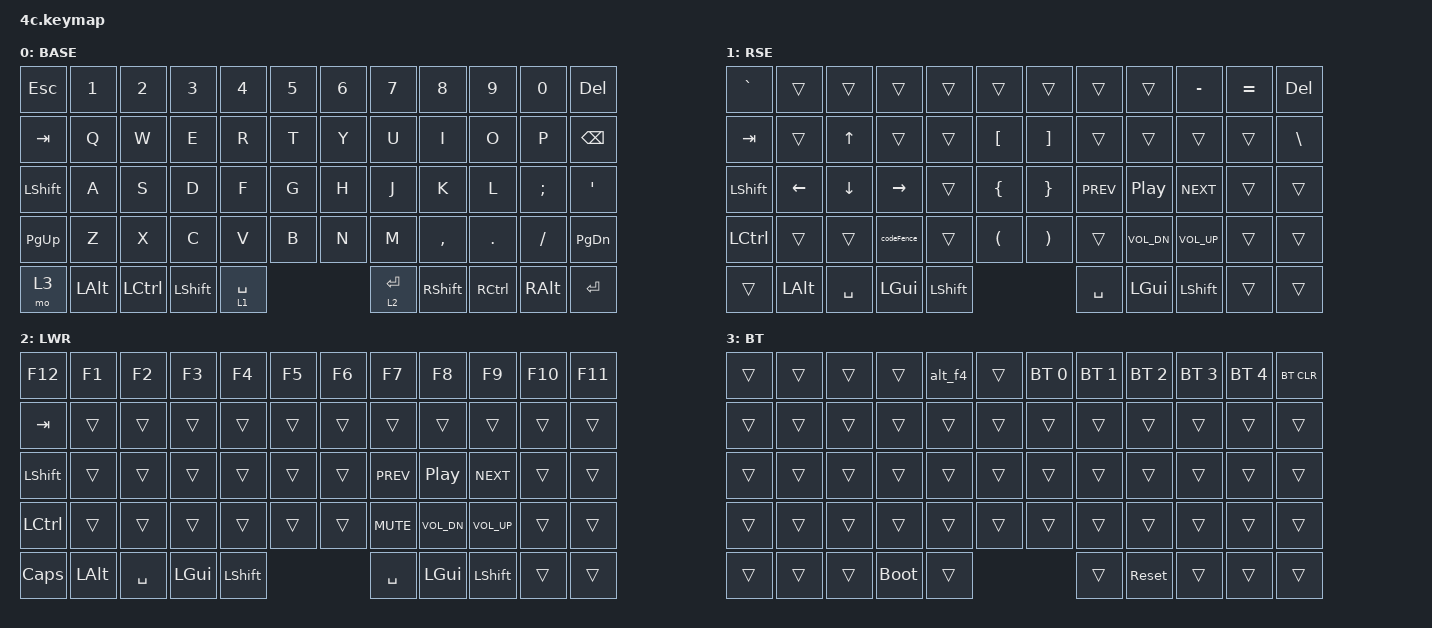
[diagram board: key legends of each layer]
#include <behaviors.dtsi>
#include <dt-bindings/zmk/keys.h>
#include <dt-bindings/zmk/bt.h>
#include <dt-bindings/zmk/outputs.h>

/ {
    combos {
        compatible = "zmk,combos";

        BT {
            bindings = <&bt BT_NXT>;
            key-positions = <48 51 52>;
            layers = <0>;
        };

        gui_meta {
            bindings = <&kp LEFT_GUI>;
            key-positions = <51 54>;
            layers = <0>;
            timeout-ms = <50>;
            require-prior-idle-ms = <1>;
        };
    };

    macros {
        codeFence: codeFence {
            compatible = "zmk,behavior-macro";
            #binding-cells = <0>;
            tap-ms = <30>;
            wait-ms = <30>;
            bindings = <&kp GRAVE &kp GRAVE &kp GRAVE &kp RET &kp RET &kp GRAVE &kp GRAVE &kp GRAVE &kp UP>;
        };

        alt_f4: alt_f4 {
            compatible = "zmk,behavior-macro";
            #binding-cells = <0>;
            tap-ms = <30>;
            wait-ms = <30>;
            bindings = <&kp LALT &kp F4>;
        };
    };

    keymap {
        compatible = "zmk,keymap";
        // Tell ZMK Studio how to map this layout array
        physical-layout = <&default_layout>;

        BASE {
            bindings = <
&kp ESC         &kp NUMBER_1  &kp NUMBER_2      &kp NUMBER_3    &kp NUMBER_4  &kp NUMBER_5    &kp NUMBER_6  &kp NUMBER_7  &kp NUMBER_8     &kp NUMBER_9       &kp NUMBER_0   &kp DELETE
&kp TAB         &kp Q         &kp W             &kp E           &kp R         &kp T           &kp Y         &kp U         &kp I            &kp O              &kp P          &kp BACKSPACE
&kp LEFT_SHIFT  &kp A         &kp S             &kp D           &kp F         &kp G           &kp H         &kp J         &kp K            &kp L              &kp SEMI       &kp APOS
&kp PAGE_UP     &kp Z         &kp X             &kp C           &kp V         &kp B           &kp N         &kp M         &kp COMMA        &kp PERIOD         &kp SLASH      &kp PAGE_DOWN
&mo 3           &kp LEFT_ALT  &kp LEFT_CONTROL  &kp LEFT_SHIFT  &lt 1 SPACE                                 &lt 2 ENTER   &kp RIGHT_SHIFT  &kp RIGHT_CONTROL  &kp RIGHT_ALT  &kp ENTER
            >;
        };

        RSE {
            bindings = <
&kp GRAVE       &trans        &trans     &trans        &trans          &trans                  &trans                 &trans      &trans        &kp MINUS       &kp EQUAL  &kp DELETE
&kp TAB         &trans        &kp UP     &trans        &trans          &kp LEFT_BRACKET        &kp RIGHT_BRACKET      &trans      &trans        &trans          &trans     &kp BACKSLASH
&kp LEFT_SHIFT  &kp LEFT      &kp DOWN   &kp RIGHT     &trans          &kp LEFT_BRACE          &kp RIGHT_BRACE        &kp C_PREV  &kp C_PP      &kp C_NEXT      &trans     &trans
&kp LCTRL       &trans        &trans     &codeFence    &trans          &kp LEFT_PARENTHESIS    &kp RIGHT_PARENTHESIS  &trans      &kp C_VOL_DN  &kp C_VOL_UP    &trans     &trans
&trans          &kp LEFT_ALT  &kp SPACE  &kp LEFT_GUI  &kp LEFT_SHIFT                                                 &kp SPACE   &kp LEFT_GUI  &kp LEFT_SHIFT  &trans     &trans
            >;
        };

        LWR {
            bindings = <
&kp F12         &kp F1        &kp F2     &kp F3        &kp F4          &kp F5    &kp F6  &kp F7      &kp F8            &kp F9          &kp F10  &kp F11
&kp TAB         &trans        &trans     &trans        &trans          &trans    &trans  &trans      &trans            &trans          &trans   &trans
&kp LEFT_SHIFT  &trans        &trans     &trans        &trans          &trans    &trans  &kp C_PREV  &kp C_PLAY_PAUSE  &kp C_NEXT      &trans   &trans
&kp LCTRL       &trans        &trans     &trans        &trans          &trans    &trans  &kp C_MUTE  &kp C_VOL_DN      &kp C_VOL_UP    &trans   &trans
&kp CAPS        &kp LEFT_ALT  &kp SPACE  &kp LEFT_GUI  &kp LEFT_SHIFT                    &kp SPACE   &kp LEFT_GUI      &kp LEFT_SHIFT  &trans   &trans
            >;
        };

        BT {
            bindings = <
&trans  &trans  &trans  &trans       &alt_f4  &trans    &bt BT_SEL 0  &bt BT_SEL 1  &bt BT_SEL 2  &bt BT_SEL 3  &bt BT_SEL 4  &bt BT_CLR
&trans  &trans  &trans  &trans       &trans   &trans    &trans        &trans        &trans        &trans        &trans        &trans
&trans  &trans  &trans  &trans       &trans   &trans    &trans        &trans        &trans        &trans        &trans        &trans
&trans  &trans  &trans  &trans       &trans   &trans    &trans        &trans        &trans        &trans        &trans        &trans
&trans  &trans  &trans  &bootloader  &trans                           &trans        &sys_reset    &trans        &trans        &trans
            >;
        };
    };
};
